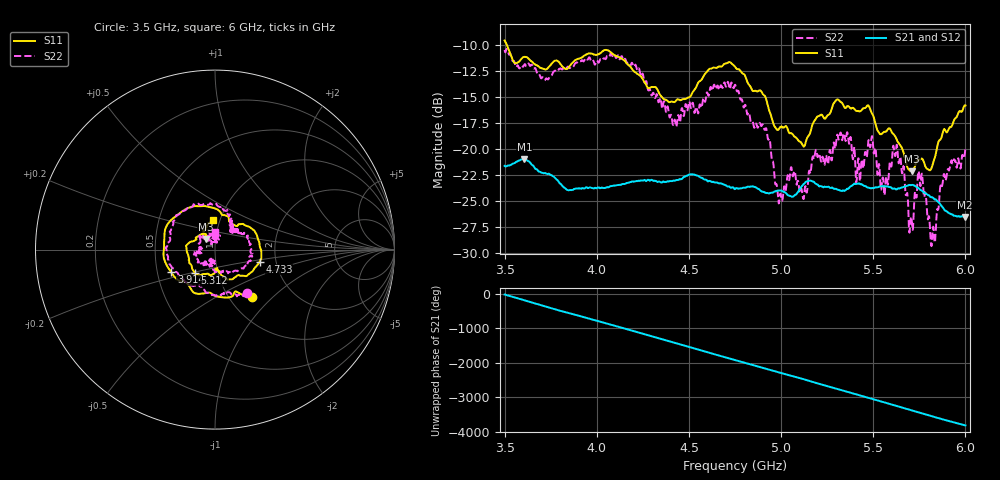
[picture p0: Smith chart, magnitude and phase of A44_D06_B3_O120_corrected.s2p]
! Created with skrf 1.9.0 (http://scikit-rf.org).
# Hz S RI R 50.0
!freq ReS11 ImS11 ReS21 ImS21 ReS12 ImS12 ReS22 ImS22
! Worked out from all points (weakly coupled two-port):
!   1601 points, 3.5 GHz to 6 GHz, reference 50 ohm
!   highest |S21| = -20.93 dB at 3.608 GHz (marker M1); lowest = -26.5 dB at 5.997 GHz (marker M2)
!   lowest |S11| = -22.1 dB at 5.711 GHz (marker M3), VSWR 1.17, Z = 44.8 + j5.35 ohm
!   |S11| at or under -10 dB: 3.513 GHz to end of sweep
!   |S22| runs from -29.3 to -10.4 dB; largest |S21 - S12| = 0.00094
!   S11 on the Smith chart (normalised r, x): 3.5 GHz: 1.27, -0.75; 3.914 GHz: 0.59, -0.16; 4.733 GHz: 1.64, -0.23; 5.312 GHz: 0.77, -0.21; 6 GHz: 0.93, +0.31
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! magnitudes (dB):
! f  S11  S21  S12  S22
! 3.5 GHz  -9.5  -21.6  -21.6  -10.5
! 3.608 GHz  -11.1  -20.9  -20.9  -11.9
! 3.914 GHz  -11.2  -23.8  -23.7  -11.5
! 3.917 GHz  -11.2  -23.8  -23.7  -11.5
! 4.144 GHz  -11.4  -23.3  -23.3  -11.4
! 4.334 GHz  -14.5  -23.1  -23.0  -15.5
! 4.423 GHz  -15.4  -23.0  -23.0  -17.1
! 4.733 GHz  -11.8  -23.7  -23.6  -13.6
! 4.75 GHz  -12.1  -23.8  -23.7  -13.8
! 4.927 GHz  -15.7  -24.2  -24.2  -18.8
! 4.995 GHz  -17.9  -23.9  -23.9  -24.3
! 5.167 GHz  -17.8  -23.1  -23.0  -21.2
! 5.312 GHz  -15.3  -23.9  -23.9  -19.1
! 5.417 GHz  -16.3  -23.3  -23.3  -21.1
! 5.584 GHz  -18.0  -23.6  -23.6  -22.3
! 5.636 GHz  -19.4  -23.7  -23.7  -21.1
! 5.711 GHz  -22.1  -23.4  -23.3  -27.2
! 5.755 GHz  -21.0  -23.9  -23.8  -23.4
! 5.825 GHz  -21.3  -24.7  -24.6  -27.4
! 5.875 GHz  -18.5  -25.5  -25.5  -23.4
! 5.997 GHz  -15.8  -26.5  -26.4  -20.4
! 6 GHz  -15.8  -26.5  -26.4  -19.9
